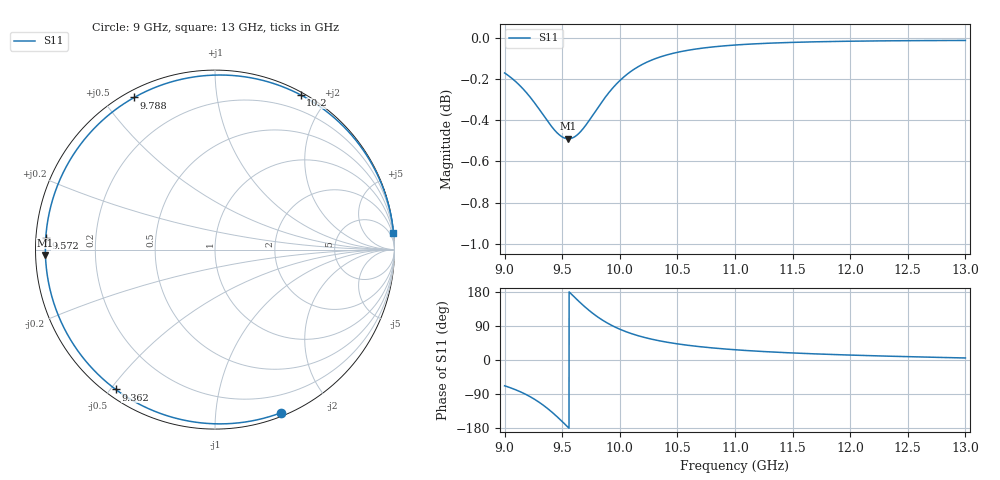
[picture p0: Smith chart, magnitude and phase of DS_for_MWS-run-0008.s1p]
! TOUCHSTONE file generated by CST DESIGN STUDIO
! Date and time: Tue Feb  4 13:48:52 2025
! Project name: C:\Work\MatlabApps\UnitCellOptimizationMatlab\CST\unitcell.cst
! Tree item: Tasks\Sweep1\SPara1\S-Parameters
! Header version: 2024
! Port assignment regex: !\s*Touchstone port\s*([0-9]+)\s*=\s*(CST MWS port|CST DES external port|CST DES block port)\s*(.+)\s* \(\"(.*)\"\)(\s*mode\s*([0-9]+))?.*
! Touchstone port assignment:
! Touchstone port 1 = CST DES external port 1 ("")
# GHz S MA R 50
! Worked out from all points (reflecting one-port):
!   4001 points, 9 GHz to 13 GHz, reference 50 ohm
!   lowest |S11| = -0.5 dB at 9.553 GHz (marker M1), VSWR 35.46, Z = 1.41 - j0.788 ohm
!   phase of S11 starts at -68 deg and turns -287 deg over the sweep
!   S11 on the Smith chart (normalised r, x): 9 GHz: 0.03, -1.48; 9.362 GHz: 0.03, -0.52; 9.572 GHz: 0.03, +0.03; 9.788 GHz: 0.03, +0.60; 10.2 GHz: 0.03, +1.70; 13 GHz: 0, +21
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9  0.9806 -68.1
9.039  0.9789 -72.0
9.105  0.9754 -79.7
9.216  0.9679 -95.9
9.293  0.9615 -110.2
9.362  0.9555 -125.4
9.429  0.9501 -142.4
9.5  0.9461 -162.4
9.553  0.9451 -178.2
9.572  0.9453 176.1
9.627  0.947 159.8
9.687  0.9509 142.9
9.737  0.9551 129.9
9.788  0.9598 118.0
9.834  0.964 108.3
9.883  0.9681 99.1
9.937  0.9723 90.2
10  0.9764 81.3
10.093  0.9813 70.4
10.195  0.9853 61.0
10.335  0.9891 51.2
10.5  0.992 42.6
10.721  0.9944 34.3
11  0.9961 27.0
11.5  0.9975 18.6
12  0.9982 13.0
12.5  0.9985 8.8
13  0.9986 5.3
